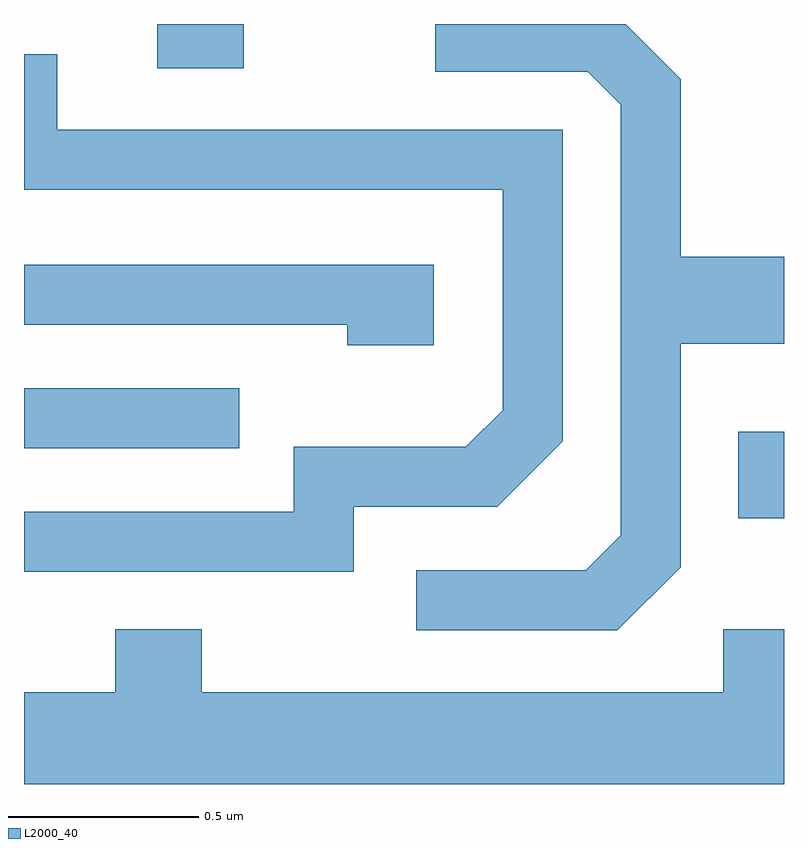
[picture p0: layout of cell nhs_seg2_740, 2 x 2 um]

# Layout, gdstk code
import gdstk
lib = gdstk.Library(unit=1e-6, precision=1e-09)
def R(c, l, rs):  # rectangles x0, y0, x1, y1
    for r in rs: c.add(gdstk.rectangle(r[:2], r[2:], *l))
def P(c, l, *ps):  # polygons
    for p in ps: c.add(gdstk.Polygon(p, *l))
L2000_40 = (2000, 40)

nhs_seg2_740 = lib.new_cell('nhs_seg2_740')
R(nhs_seg2_740, L2000_40, [(192.491,1033.501,192.611,1033.729), (190.611,1033.686,191.178,1033.844), (190.961,1034.686,191.189,1034.802)])
P(nhs_seg2_740, L2000_40, [(192.339,1033.373),(192.339,1033.961),(192.611,1033.961),(192.611,1034.189),(192.339,1034.189),(192.339,1034.657),(192.194,1034.802),(191.693,1034.802),(191.693,1034.676),(192.094,1034.676),(192.181,1034.589),(192.181,1033.457),(192.089,1033.364),(191.643,1033.364),(191.643,1033.206),(192.172,1033.206)],
  [(191.479,1033.531),(191.857,1033.531),(192.029,1033.704),(192.029,1034.524),(190.699,1034.524),(190.699,1034.723),(190.611,1034.723),(190.611,1034.366),(191.871,1034.366),(191.871,1033.786),(191.774,1033.689),(191.321,1033.689),(191.321,1033.519),(190.611,1033.519),(190.611,1033.361),(191.479,1033.361)],
  [(191.689,1034.169),(190.611,1034.169),(190.611,1034.011),(191.461,1034.011),(191.461,1033.956),(191.689,1033.956)],
  [(192.611,1033.209),(192.451,1033.209),(192.451,1033.044),(191.079,1033.044),(191.079,1033.209),(190.851,1033.209),(190.851,1033.044),(190.611,1033.044),(190.611,1032.802),(192.611,1032.802)])

lib.write_gds('nhs_seg2_740.gds')
